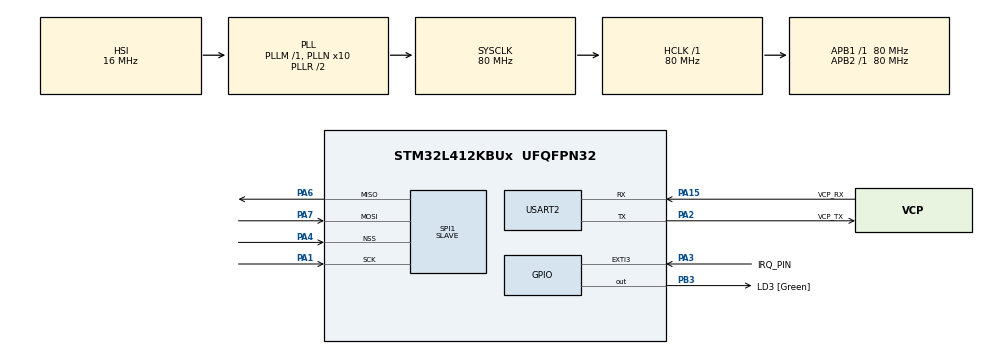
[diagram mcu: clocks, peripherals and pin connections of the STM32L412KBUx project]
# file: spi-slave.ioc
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Mcu.Family=STM32L4
Mcu.Name=STM32L412KBUx
Mcu.Package=UFQFPN32
NVIC.EXTI3_IRQn=true\:0\:0\:false\:false\:true\:true\:true
NVIC.PriorityGroup=NVIC_PRIORITYGROUP_4
NVIC.SPI1_IRQn=true\:0\:0\:false\:false\:true\:true\:true
PA0-CK_IN.Mode=HSE-External-Clock-Source-for-LittleOrca
PA0-CK_IN.Signal=RCC_CK_IN
PA1.Mode=Full_Duplex_Slave
PA1.Signal=SPI1_SCK
PA13\ (JTMS/SWDIO).GPIO_Label=SWDIO
PA13\ (JTMS/SWDIO).Mode=Serial_Wire
PA13\ (JTMS/SWDIO).Signal=SYS_JTMS-SWDIO
PA14\ (JTCK/SWCLK).GPIO_Label=SWCLK
PA14\ (JTCK/SWCLK).Mode=Serial_Wire
PA14\ (JTCK/SWCLK).Signal=SYS_JTCK-SWCLK
PA15\ (JTDI).GPIO_Label=VCP_RX
PA15\ (JTDI).Mode=Asynchronous
PA15\ (JTDI).Signal=USART2_RX
PA2.GPIO_Label=VCP_TX
PA2.Mode=Asynchronous
PA2.Signal=USART2_TX
PA3.GPIO_Label=IRQ_PIN
PA3.Signal=GPXTI3
PA4.Mode=NSS_Signal_Hard_Input
PA4.Signal=SPI1_NSS
PA6.Mode=Full_Duplex_Slave
PA6.Signal=SPI1_MISO
PA7.Mode=Full_Duplex_Slave
PA7.Signal=SPI1_MOSI
PB3\ (JTDO/TRACESWO).GPIO_Label=LD3 [Green]
PB3\ (JTDO/TRACESWO).Signal=GPIO_Output
PC14-OSC32_IN\ (PC14).Mode=LSE-External-Oscillator
PC14-OSC32_IN\ (PC14).Signal=RCC_OSC32_IN
PC15-OSC32_OUT\ (PC15).Mode=LSE-External-Oscillator
PC15-OSC32_OUT\ (PC15).Signal=RCC_OSC32_OUT
ProjectManager.HeapSize=0x200
ProjectManager.StackSize=0x400
ProjectManager.TargetToolchain=STM32CubeIDE
RCC.ADCFreq_Value=80000000
RCC.AHBFreq_Value=80000000
RCC.APB1Freq_Value=80000000
RCC.APB1TimFreq_Value=80000000
RCC.APB2Freq_Value=80000000
RCC.APB2TimFreq_Value=80000000
RCC.CortexFreq_Value=80000000
RCC.HCLKFreq_Value=80000000
RCC.HSE_VALUE=8000000
RCC.HSI48_VALUE=48000000
RCC.HSI_VALUE=16000000
RCC.MSIClockRange=RCC_MSIRANGE_10
RCC.MSI_VALUE=32000000
RCC.PLLN=10
RCC.PLLSourceVirtual=RCC_PLLSOURCE_HSI
RCC.SYSCLKFreq_VALUE=80000000
RCC.SYSCLKSource=RCC_SYSCLKSOURCE_PLLCLK
RCC.USBFreq_Value=32000000
RCC.VCOOutputFreq_Value=160000000
SPI1.DataSize=SPI_DATASIZE_8BIT
SPI1.Direction=SPI_DIRECTION_2LINES
SPI1.Mode=SPI_MODE_SLAVE
SPI1.VirtualNSS=VM_NSSHARD
SPI1.VirtualType=VM_SLAVE
USART2.VirtualMode-Asynchronous=VM_ASYNC
board=NUCLEO-L412KB

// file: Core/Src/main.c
/* USER CODE BEGIN Header */
/**
  ******************************************************************************
  * @file           : main.c
  * @brief          : Main program body
  ******************************************************************************
  * @attention
  *
  * <h2><center>&copy; Copyright (c) 2021 STMicroelectronics.
  * All rights reserved.</center></h2>
  *
  * This software component is licensed by ST under BSD 3-Clause license,
  * the "License"; You may not use this file except in compliance with the
  * License. You may obtain a copy of the License at:
  *                        opensource.org/licenses/BSD-3-Clause
  *
  ******************************************************************************
  */
/* USER CODE END Header */
#include "main.h"

SPI_HandleTypeDef hspi1;

UART_HandleTypeDef huart2;

void SystemClock_Config(void);
static void MX_GPIO_Init(void);
static void MX_USART2_UART_Init(void);
static void MX_SPI1_Init(void);

/* USER CODE BEGIN 0 */

enum spi_rw {
	SPI_READ = 0,
	SPI_WRITE = 1,
};

enum spi_states {
	SPI_STATE_READ_HDR,
	SPI_STATE_RW_MEMORY,
};

struct spi_header {
	uint8_t address:7;
	uint8_t rw:1; /* 1 for write 0 for read */
} __attribute__((__packed__));

enum spi_state {
	SPI_STATE_TRANSMIT,
	SPI_STATE_RECEIVE,
};
struct state_data {
	uint8_t read_hdr;
	uint8_t address;
	uint8_t rw;
};
struct state_data state_data = {0,};

uint8_t tx_buf[1] = {0x0};
uint8_t rx_buf[1] = {0x0};
int sz = 1;
HAL_StatusTypeDef hal_status;

enum enum_status {
	STATUS_UNSET = 0,
	STATUS_TXCPLT,
	STATUS_RXCPLT,
	STATUS_TXRXCPLT,
	STATUS_ERROR,
	STATUS_ABORT,
};
enum enum_status status = STATUS_UNSET;

uint8_t memory[20] = {0,};
int memory_sz = sizeof(memory);

void HAL_SPI_TxCpltCallback(SPI_HandleTypeDef *hspi)
{
	status = STATUS_TXCPLT;
}
void HAL_SPI_RxCpltCallback(SPI_HandleTypeDef *hspi)
{
	status = STATUS_RXCPLT;
}
void HAL_SPI_TxRxCpltCallback(SPI_HandleTypeDef *hspi)
{
	status = STATUS_TXRXCPLT;
}
void HAL_SPI_ErrorCallback(SPI_HandleTypeDef *hspi)
{
	status = STATUS_ERROR;
}
void HAL_SPI_AbortCpltCallback(SPI_HandleTypeDef *hspi)
{
	status = STATUS_ABORT;
}

static int handle_spi_comm(enum enum_status *status)
{
	if(SPI_STATE_READ_HDR == state_data.read_hdr) {
		if(state_data.address > memory_sz) return -1;
		struct spi_header *spi_header = (struct spi_header *)&rx_buf[0];
		state_data.address = spi_header->address;
		state_data.rw = spi_header->rw;
		state_data.read_hdr = SPI_STATE_RW_MEMORY;

		if(SPI_READ == state_data.rw) {
			tx_buf[0] = memory[state_data.address];
		}

		goto end;
	}

	if(SPI_WRITE == state_data.rw) {
		memory[state_data.address] = rx_buf[0];
	}

	state_data.read_hdr = SPI_STATE_READ_HDR;

end:
	*status = STATUS_UNSET;
	HAL_SPI_TransmitReceive_IT(&hspi1, &tx_buf[0], &rx_buf[0], sizeof(rx_buf[0]));

	return 0;
}

/* USER CODE END 0 */

int main(void)
{

  /* MCU Configuration--------------------------------------------------------*/

  /* Reset of all peripherals, Initializes the Flash interface and the Systick. */
  HAL_Init();

  /* Configure the system clock */
  SystemClock_Config();

  /* Initialize all configured peripherals */
  MX_GPIO_Init();
  MX_USART2_UART_Init();
  MX_SPI1_Init();

  /* Infinite loop */
  /* USER CODE BEGIN WHILE */

  state_data.read_hdr = SPI_STATE_READ_HDR;
  HAL_SPI_TransmitReceive_IT(&hspi1, &tx_buf[0], &rx_buf[0], sizeof(rx_buf[0]));
  while (1)
  {
	  switch(status) {
	  case STATUS_UNSET:
		  if(!hspi1.ErrorCode) break;
		  hspi1.ErrorCode = 0;
		  HAL_SPI_TransmitReceive_IT(&hspi1, &tx_buf[0], &rx_buf[0], sizeof(rx_buf[0]));
		  break;
	  case STATUS_TXRXCPLT:
		  handle_spi_comm(&status);
		  break;
	  case STATUS_RXCPLT:
	  case STATUS_TXCPLT:
	  case STATUS_ERROR:
	  case STATUS_ABORT:
		  status = STATUS_UNSET;
		  break;
	  }
  }
    /* USER CODE END WHILE */

}

void SystemClock_Config(void)
{
  RCC_OscInitTypeDef RCC_OscInitStruct = {0};
  RCC_ClkInitTypeDef RCC_ClkInitStruct = {0};
  RCC_PeriphCLKInitTypeDef PeriphClkInit = {0};

  /** Configure the main internal regulator output voltage
  */
  if (HAL_PWREx_ControlVoltageScaling(PWR_REGULATOR_VOLTAGE_SCALE1) != HAL_OK)
  {
    Error_Handler();
  }
  /** Initializes the RCC Oscillators according to the specified parameters
  * in the RCC_OscInitTypeDef structure.
  */
  RCC_OscInitStruct.OscillatorType = RCC_OSCILLATORTYPE_HSI;
  RCC_OscInitStruct.HSIState = RCC_HSI_ON;
  RCC_OscInitStruct.HSICalibrationValue = RCC_HSICALIBRATION_DEFAULT;
  RCC_OscInitStruct.PLL.PLLState = RCC_PLL_ON;
  RCC_OscInitStruct.PLL.PLLSource = RCC_PLLSOURCE_HSI;
  RCC_OscInitStruct.PLL.PLLM = 1;
  RCC_OscInitStruct.PLL.PLLN = 10;
  RCC_OscInitStruct.PLL.PLLQ = RCC_PLLQ_DIV2;
  RCC_OscInitStruct.PLL.PLLR = RCC_PLLR_DIV2;
  if (HAL_RCC_OscConfig(&RCC_OscInitStruct) != HAL_OK)
  {
    Error_Handler();
  }
  /** Initializes the CPU, AHB and APB buses clocks
  */
  RCC_ClkInitStruct.ClockType = RCC_CLOCKTYPE_HCLK|RCC_CLOCKTYPE_SYSCLK
                              |RCC_CLOCKTYPE_PCLK1|RCC_CLOCKTYPE_PCLK2;
  RCC_ClkInitStruct.SYSCLKSource = RCC_SYSCLKSOURCE_PLLCLK;
  RCC_ClkInitStruct.AHBCLKDivider = RCC_SYSCLK_DIV1;
  RCC_ClkInitStruct.APB1CLKDivider = RCC_HCLK_DIV1;
  RCC_ClkInitStruct.APB2CLKDivider = RCC_HCLK_DIV1;

  if (HAL_RCC_ClockConfig(&RCC_ClkInitStruct, FLASH_LATENCY_4) != HAL_OK)
  {
    Error_Handler();
  }
  PeriphClkInit.PeriphClockSelection = RCC_PERIPHCLK_USART2;
  PeriphClkInit.Usart2ClockSelection = RCC_USART2CLKSOURCE_PCLK1;
  if (HAL_RCCEx_PeriphCLKConfig(&PeriphClkInit) != HAL_OK)
  {
    Error_Handler();
  }
}

static void MX_SPI1_Init(void)
{

  /* SPI1 parameter configuration*/
  hspi1.Instance = SPI1;
  hspi1.Init.Mode = SPI_MODE_SLAVE;
  hspi1.Init.Direction = SPI_DIRECTION_2LINES;
  hspi1.Init.DataSize = SPI_DATASIZE_8BIT;
  hspi1.Init.CLKPolarity = SPI_POLARITY_LOW;
  hspi1.Init.CLKPhase = SPI_PHASE_1EDGE;
  hspi1.Init.NSS = SPI_NSS_HARD_INPUT;
  hspi1.Init.FirstBit = SPI_FIRSTBIT_MSB;
  hspi1.Init.TIMode = SPI_TIMODE_DISABLE;
  hspi1.Init.CRCCalculation = SPI_CRCCALCULATION_DISABLE;
  hspi1.Init.CRCPolynomial = 7;
  hspi1.Init.CRCLength = SPI_CRC_LENGTH_DATASIZE;
  hspi1.Init.NSSPMode = SPI_NSS_PULSE_DISABLE;
  if (HAL_SPI_Init(&hspi1) != HAL_OK)
  {
    Error_Handler();
  }

}

static void MX_USART2_UART_Init(void)
{

  huart2.Instance = USART2;
  huart2.Init.BaudRate = 115200;
  huart2.Init.WordLength = UART_WORDLENGTH_8B;
  huart2.Init.StopBits = UART_STOPBITS_1;
  huart2.Init.Parity = UART_PARITY_NONE;
  huart2.Init.Mode = UART_MODE_TX_RX;
  huart2.Init.HwFlowCtl = UART_HWCONTROL_NONE;
  huart2.Init.OverSampling = UART_OVERSAMPLING_16;
  huart2.Init.OneBitSampling = UART_ONE_BIT_SAMPLE_DISABLE;
  huart2.AdvancedInit.AdvFeatureInit = UART_ADVFEATURE_NO_INIT;
  if (HAL_UART_Init(&huart2) != HAL_OK)
  {
    Error_Handler();
  }

}

static void MX_GPIO_Init(void)
{
  GPIO_InitTypeDef GPIO_InitStruct = {0};

  /* GPIO Ports Clock Enable */
  __HAL_RCC_GPIOC_CLK_ENABLE();
  __HAL_RCC_GPIOA_CLK_ENABLE();
  __HAL_RCC_GPIOB_CLK_ENABLE();

  /*Configure GPIO pin Output Level */
  HAL_GPIO_WritePin(LD3_GPIO_Port, LD3_Pin, GPIO_PIN_RESET);

  /*Configure GPIO pin : LD3_Pin */
  GPIO_InitStruct.Pin = LD3_Pin;
  GPIO_InitStruct.Mode = GPIO_MODE_OUTPUT_PP;
  GPIO_InitStruct.Pull = GPIO_NOPULL;
  GPIO_InitStruct.Speed = GPIO_SPEED_FREQ_LOW;
  HAL_GPIO_Init(LD3_GPIO_Port, &GPIO_InitStruct);

}

void Error_Handler(void)
{
  __disable_irq();
  while (1)
  {
  }
}

/************************ (C) COPYRIGHT STMicroelectronics *****END OF FILE****/
